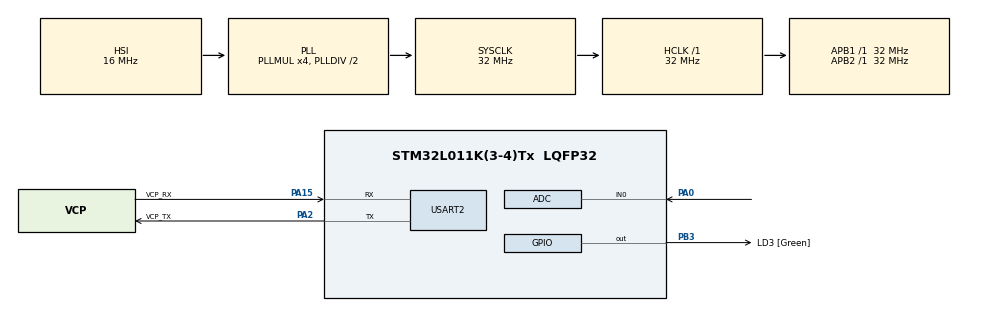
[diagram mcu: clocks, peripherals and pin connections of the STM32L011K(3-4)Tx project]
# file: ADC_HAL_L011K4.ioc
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ADC.DiscontinuousConvMode=ENABLE
ADC.OversamplingMode=ENABLE
ADC.Ratio=ADC_OVERSAMPLING_RATIO_256
ADC.RightBitShift=ADC_RIGHTBITSHIFT_8
ADC.SamplingTime=ADC_SAMPLETIME_160CYCLES_5
Mcu.Family=STM32L0
Mcu.Name=STM32L011K(3-4)Tx
Mcu.Package=LQFP32
PA0-CK_IN.Mode=IN0
PA0-CK_IN.Signal=ADC_IN0
PA13.GPIO_Label=TMS
PA13.Mode=Serial_Wire
PA13.Signal=SYS_SWDIO
PA14.GPIO_Label=TCK
PA14.Mode=Serial_Wire
PA14.Signal=SYS_SWCLK
PA15.GPIO_Label=VCP_RX
PA15.Mode=Asynchronous
PA15.Signal=USART2_RX
PA2.GPIO_Label=VCP_TX
PA2.Mode=Asynchronous
PA2.Signal=USART2_TX
PB3.GPIO_Label=LD3 [Green]
PB3.Signal=GPIO_Output
PC14-OSC32_IN.Mode=LSE-External-Oscillator
PC14-OSC32_IN.Signal=RCC_OSC32_IN
PC15-OSC32_OUT.Mode=LSE-External-Oscillator
PC15-OSC32_OUT.Signal=RCC_OSC32_OUT
ProjectManager.HeapSize=0x200
ProjectManager.StackSize=0x400
ProjectManager.TargetToolchain=STM32CubeIDE
RCC.AHBFreq_Value=32000000
RCC.APB1Freq_Value=32000000
RCC.APB1TimFreq_Value=32000000
RCC.APB2Freq_Value=32000000
RCC.APB2TimFreq_Value=32000000
RCC.HCLKFreq_Value=32000000
RCC.HSE_VALUE=8000000
RCC.HSI16_VALUE=16000000
RCC.HSI48_VALUE=48000000
RCC.HSI_VALUE=16000000
RCC.MSI_VALUE=2097000
RCC.PLLMUL=RCC_PLLMUL_4
RCC.SYSCLKFreq_VALUE=32000000
RCC.SYSCLKSource=RCC_SYSCLKSOURCE_PLLCLK
RCC.VCOOutputFreq_Value=64000000
USART2.VirtualMode-Asynchronous=VM_ASYNC
VP_ADC_Vref_Input.Mode=IN-Vrefint
board=NUCLEO-L011K4

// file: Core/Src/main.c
/* USER CODE BEGIN Header */
/**
  ******************************************************************************
  * @file           : main.c
  * @brief          : Main program body
  ******************************************************************************
  * @attention
  *
  * Copyright (c) 2024 STMicroelectronics.
  * All rights reserved.
  *
  * This software is licensed under terms that can be found in the LICENSE file
  * in the root directory of this software component.
  * If no LICENSE file comes with this software, it is provided AS-IS.
  *
  ******************************************************************************
  */
/* USER CODE END Header */
#include "main.h"
#include "adc.h"
#include "usart.h"
#include "gpio.h"

/* USER CODE BEGIN PD */
#define VREFINT_CAL_ADDR                0x1FF80078  /* datasheet p. 19 */
#define VREFINT_CAL ((uint16_t*) VREFINT_CAL_ADDR)
#define VDDA_CHARAC						3.0
/* USER CODE END PD */

/* USER CODE BEGIN PV */
uint16_t adc_res1, adc_res2;
float adc_res1_V, adc_res2_V;
/* USER CODE END PV */

void SystemClock_Config(void);

int main(void)
{

  /* MCU Configuration--------------------------------------------------------*/

  /* Reset of all peripherals, Initializes the Flash interface and the Systick. */
  HAL_Init();

  /* Configure the system clock */
  SystemClock_Config();

  /* Initialize all configured peripherals */
  MX_GPIO_Init();
  MX_USART2_UART_Init();
  MX_ADC_Init();
  /* USER CODE BEGIN 2 */
  if (HAL_ADCEx_EnableVREFINT() != HAL_OK)
  {
	  Error_Handler();
  }
  HAL_SYSCFG_VREFINT_OutputSelect(SYSCFG_VREFINT_OUT_PB0);

  HAL_ADCEx_Calibration_Start(&hadc, ADC_SINGLE_ENDED);
  /* USER CODE END 2 */

  /* Infinite loop */
  while (1)
  {

    /* USER CODE BEGIN 3 */
	  HAL_ADC_Start(&hadc);
	  HAL_ADC_PollForConversion(&hadc, 1000);
	  adc_res1 = HAL_ADC_GetValue(&hadc);
	  HAL_ADC_Start(&hadc);
	  HAL_ADC_PollForConversion(&hadc, 1000);
	  adc_res2 = HAL_ADC_GetValue(&hadc);
	  HAL_ADC_Stop(&hadc);
	  adc_res2_V = VDDA_CHARAC * (*VREFINT_CAL) / adc_res2;
	  adc_res1_V = (adc_res2_V / 4095.0) * adc_res1;
	  HAL_Delay(500);
  }
  /* USER CODE END 3 */
}

void SystemClock_Config(void)
{
  RCC_OscInitTypeDef RCC_OscInitStruct = {0};
  RCC_ClkInitTypeDef RCC_ClkInitStruct = {0};
  RCC_PeriphCLKInitTypeDef PeriphClkInit = {0};

  /** Configure the main internal regulator output voltage
  */
  __HAL_PWR_VOLTAGESCALING_CONFIG(PWR_REGULATOR_VOLTAGE_SCALE1);

  /** Initializes the RCC Oscillators according to the specified parameters
  * in the RCC_OscInitTypeDef structure.
  */
  RCC_OscInitStruct.OscillatorType = RCC_OSCILLATORTYPE_HSI;
  RCC_OscInitStruct.HSIState = RCC_HSI_ON;
  RCC_OscInitStruct.HSICalibrationValue = RCC_HSICALIBRATION_DEFAULT;
  RCC_OscInitStruct.PLL.PLLState = RCC_PLL_ON;
  RCC_OscInitStruct.PLL.PLLSource = RCC_PLLSOURCE_HSI;
  RCC_OscInitStruct.PLL.PLLMUL = RCC_PLLMUL_4;
  RCC_OscInitStruct.PLL.PLLDIV = RCC_PLLDIV_2;
  if (HAL_RCC_OscConfig(&RCC_OscInitStruct) != HAL_OK)
  {
    Error_Handler();
  }

  /** Initializes the CPU, AHB and APB buses clocks
  */
  RCC_ClkInitStruct.ClockType = RCC_CLOCKTYPE_HCLK|RCC_CLOCKTYPE_SYSCLK
                              |RCC_CLOCKTYPE_PCLK1|RCC_CLOCKTYPE_PCLK2;
  RCC_ClkInitStruct.SYSCLKSource = RCC_SYSCLKSOURCE_PLLCLK;
  RCC_ClkInitStruct.AHBCLKDivider = RCC_SYSCLK_DIV1;
  RCC_ClkInitStruct.APB1CLKDivider = RCC_HCLK_DIV1;
  RCC_ClkInitStruct.APB2CLKDivider = RCC_HCLK_DIV1;

  if (HAL_RCC_ClockConfig(&RCC_ClkInitStruct, FLASH_LATENCY_1) != HAL_OK)
  {
    Error_Handler();
  }
  PeriphClkInit.PeriphClockSelection = RCC_PERIPHCLK_USART2;
  PeriphClkInit.Usart2ClockSelection = RCC_USART2CLKSOURCE_PCLK1;
  if (HAL_RCCEx_PeriphCLKConfig(&PeriphClkInit) != HAL_OK)
  {
    Error_Handler();
  }
}

void Error_Handler(void)
{
  __disable_irq();
  while (1)
  {
  }
}
